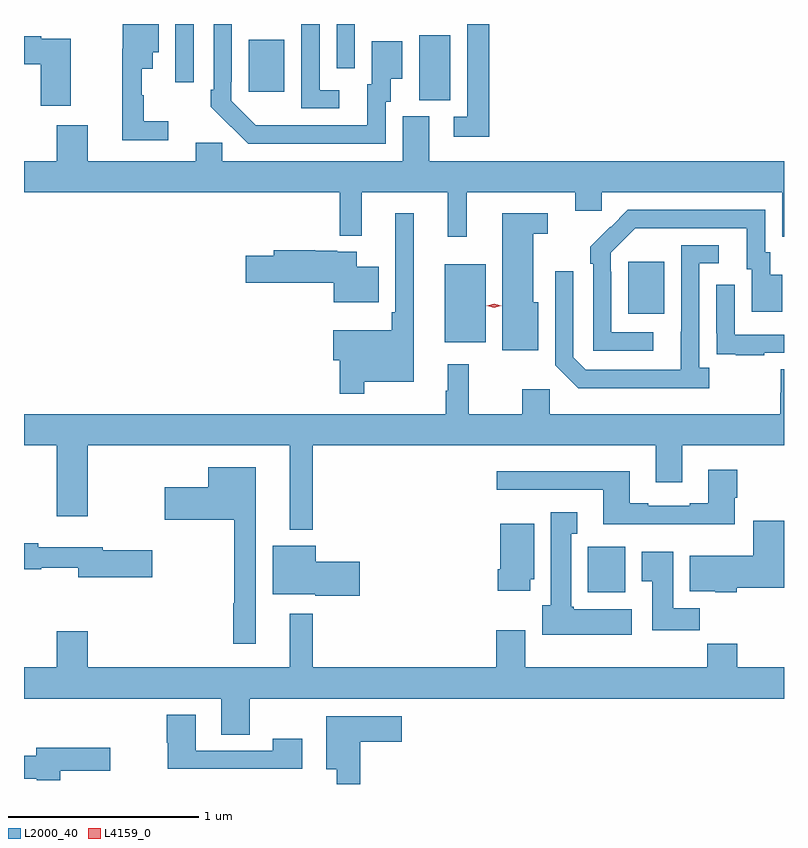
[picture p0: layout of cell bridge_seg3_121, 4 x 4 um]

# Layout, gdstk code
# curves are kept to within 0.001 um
import gdstk
lib = gdstk.Library(unit=1e-6, precision=1e-09)
def R(c, l, rs):  # rectangles x0, y0, x1, y1
    for r in rs: c.add(gdstk.rectangle(r[:2], r[2:], *l))
def P(c, l, *ps):  # polygons
    for p in ps: c.add(gdstk.Polygon(p, *l))
L2000_40 = (2000, 40)
L4159_0 = (4159, 0)

bridge_seg3_121 = lib.new_cell('bridge_seg3_121')
R(bridge_seg3_121, L2000_40, [(323.648,716.126,323.845,716.368), (322.895,717.443,323.11,717.853), (323.861,717.593,324.049,717.868), (322.76,718.717,322.924,719.06), (321.863,718.761,322.051,719.035), (321.477,718.812,321.573,719.118), (322.326,718.884,322.422,719.118)])
P(bridge_seg3_121, L2000_40, [(321.439,718.607),(321.31,718.607),(321.31,718.743),(321.299,718.743),(321.299,718.883),(321.358,718.883),(321.358,718.97),(321.388,718.97),(321.388,719.118),(321.2,719.118),(321.2,718.987),(321.196,718.987),(321.196,718.506),(321.439,718.506)],
  [(322.339,718.77),(322.236,718.77),(322.236,719.118),(322.14,719.118),(322.14,718.674),(322.339,718.674)],
  [(322.584,718.71),(322.609,718.71),(322.609,718.829),(322.672,718.829),(322.672,719.026),(322.511,719.026),(322.511,718.8),(322.487,718.8),(322.487,718.584),(321.9,718.585),(321.771,718.713),(321.771,718.813),(321.774,718.813),(321.774,719.118),(321.678,719.118),(321.678,718.771),(321.663,718.771),(321.663,718.683),(321.86,718.488),(322.584,718.488)],
  [(323.129,719.118),(323.013,719.118),(323.013,718.629),(322.941,718.629),(322.941,718.524),(323.129,718.524)],
  [(320.926,719.041),(320.772,719.041),(320.772,719.054),(320.68,719.054),(320.68,718.907),(320.768,718.907),(320.768,718.689),(320.926,718.689)],
  [(322.343,718.004),(322.457,718.004),(322.457,718.232),(322.91,718.232),(322.91,717.999),(323.009,717.999),(323.009,718.232),(323.582,718.232),(323.582,718.134),(323.721,718.134),(323.721,718.232),(324.671,718.232),(324.671,717.997),(324.68,717.997),(324.68,718.396),(322.813,718.396),(322.813,718.632),(322.673,718.632),(322.673,718.396),(321.723,718.396),(321.723,718.494),(321.584,718.494),(321.584,718.396),(321.016,718.396),(321.016,718.585),(320.852,718.585),(320.852,718.396),(320.68,718.396),(320.68,718.232),(322.343,718.232)],
  [(323.992,717.495),(323.772,717.495),(323.772,717.815),(323.769,717.815),(323.769,717.915),(323.898,718.044),(324.485,718.044),(324.485,717.828),(324.509,717.828),(324.509,717.603),(324.67,717.603),(324.67,717.799),(324.607,717.799),(324.607,717.918),(324.582,717.918),(324.582,718.14),(323.858,718.14),(323.661,717.945),(323.661,717.857),(323.676,717.857),(323.676,717.399),(323.992,717.399)],
  [(322.471,717.236),(322.732,717.236),(322.732,718.123),(322.635,718.123),(322.635,717.601),(322.615,717.601),(322.615,717.505),(322.308,717.505),(322.308,717.347),(322.342,717.347),(322.342,717.171),(322.471,717.171)],
  [(323.386,717.654),(323.359,717.654),(323.359,718.014),(323.437,718.014),(323.437,718.122),(323.198,718.122),(323.198,717.401),(323.386,717.401)],
  [(324.286,717.31),(324.234,717.31),(324.234,717.858),(324.337,717.858),(324.337,717.954),(324.138,717.954),(324.137,717.297),(323.637,717.297),(323.571,717.363),(323.571,717.817),(323.475,717.817),(323.475,717.321),(323.596,717.2),(324.286,717.2)],
  [(322.546,717.841),(322.432,717.841),(322.432,717.919),(322.328,717.919),(322.328,717.924),(322.214,717.924),(322.214,717.927),(321.995,717.927),(321.995,717.897),(321.846,717.897),(321.846,717.755),(322.31,717.755),(322.31,717.653),(322.546,717.653)],
  [(324.575,717.387),(324.68,717.387),(324.68,717.483),(324.42,717.483),(324.42,717.745),(324.324,717.745),(324.324,717.49),(324.325,717.49),(324.325,717.381),(324.427,717.381),(324.427,717.375),(324.575,717.375)],
  [(322.201,716.9),(324.005,716.9),(324.005,716.706),(324.145,716.706),(324.145,716.9),(324.68,716.9),(324.68,717.302),(324.664,717.302),(324.664,717.177),(324.659,717.177),(324.659,717.064),(323.448,717.064),(323.448,717.196),(323.302,717.196),(323.302,717.064),(323.02,717.064),(323.02,717.328),(322.91,717.328),(322.91,717.188),(322.899,717.188),(322.899,717.064),(320.68,717.064),(320.68,716.9),(320.852,716.9),(320.852,716.526),(321.016,716.526),(321.016,716.9),(322.079,716.9),(322.079,716.456),(322.201,716.456)],
  [(321.901,716.785),(321.65,716.785),(321.65,716.68),(321.42,716.68),(321.42,716.51),(321.787,716.51),(321.787,716.069),(321.78,716.069),(321.78,715.857),(321.901,715.857)],
  [(324.421,716.625),(324.434,716.625),(324.434,716.773),(324.281,716.773),(324.281,716.596),(324.185,716.596),(324.185,716.583),(323.965,716.583),(323.965,716.596),(323.869,716.596),(323.869,716.764),(323.169,716.764),(323.169,716.667),(323.729,716.667),(323.729,716.486),(324.421,716.486)],
  [(323.878,716.038),(323.574,716.038),(323.574,716.052),(323.56,716.052),(323.56,716.435),(323.593,716.435),(323.593,716.548),(323.453,716.548),(323.453,716.058),(323.408,716.058),(323.408,715.904),(323.878,715.904)],
  [(324.432,716.15),(324.68,716.15),(324.68,716.503),(324.518,716.503),(324.518,716.32),(324.185,716.32),(324.185,716.132),(324.318,716.132),(324.318,716.126),(324.432,716.126)],
  [(323.344,716.196),(323.365,716.196),(323.365,716.488),(323.186,716.488),(323.186,716.248),(323.174,716.248),(323.174,716.136),(323.344,716.136)],
  [(321.355,716.348),(321.094,716.348),(321.094,716.365),(320.756,716.365),(320.756,716.384),(320.68,716.384),(320.68,716.248),(320.77,716.248),(320.77,716.256),(320.966,716.256),(320.966,716.206),(321.355,716.206)],
  [(322.447,716.288),(322.216,716.288),(322.216,716.371),(321.989,716.371),(321.989,716.117),(322.212,716.117),(322.212,716.11),(322.447,716.11)],
  [(324.236,716.044),(324.097,716.044),(324.097,716.341),(323.93,716.341),(323.93,716.185),(323.987,716.185),(323.987,715.926),(324.236,715.926)],
  [(321.867,715.568),(324.68,715.568),(324.68,715.732),(324.434,715.732),(324.434,715.856),(324.277,715.856),(324.277,715.732),(323.317,715.732),(323.317,715.927),(323.165,715.927),(323.165,715.732),(322.201,715.732),(322.201,716.014),(322.079,716.014),(322.079,715.732),(321.016,715.732),(321.016,715.921),(320.852,715.921),(320.852,715.732),(320.68,715.732),(320.68,715.568),(321.719,715.568),(321.719,715.378),(321.867,715.378)],
  [(322.144,715.357),(321.988,715.357),(321.988,715.293),(321.583,715.293),(321.583,715.483),(321.431,715.483),(321.431,715.335),(321.436,715.335),(321.436,715.197),(322.144,715.197)],
  [(322.451,715.34),(322.669,715.34),(322.669,715.474),(322.271,715.474),(322.271,715.196),(322.325,715.196),(322.325,715.118),(322.451,715.118)],
  [(320.872,715.187),(321.133,715.187),(321.133,715.309),(320.744,715.309),(320.744,715.267),(320.68,715.267),(320.68,715.146),(320.748,715.146),(320.748,715.138),(320.872,715.138)])
P(bridge_seg3_121, L4159_0, [(323.154,717.625),(323.116,717.635),(323.116,717.635),(323.116,717.635),(323.155,717.645),(323.193,717.635),(323.193,717.634),(323.193,717.634)])

lib.write_gds('bridge_seg3_121.gds')
